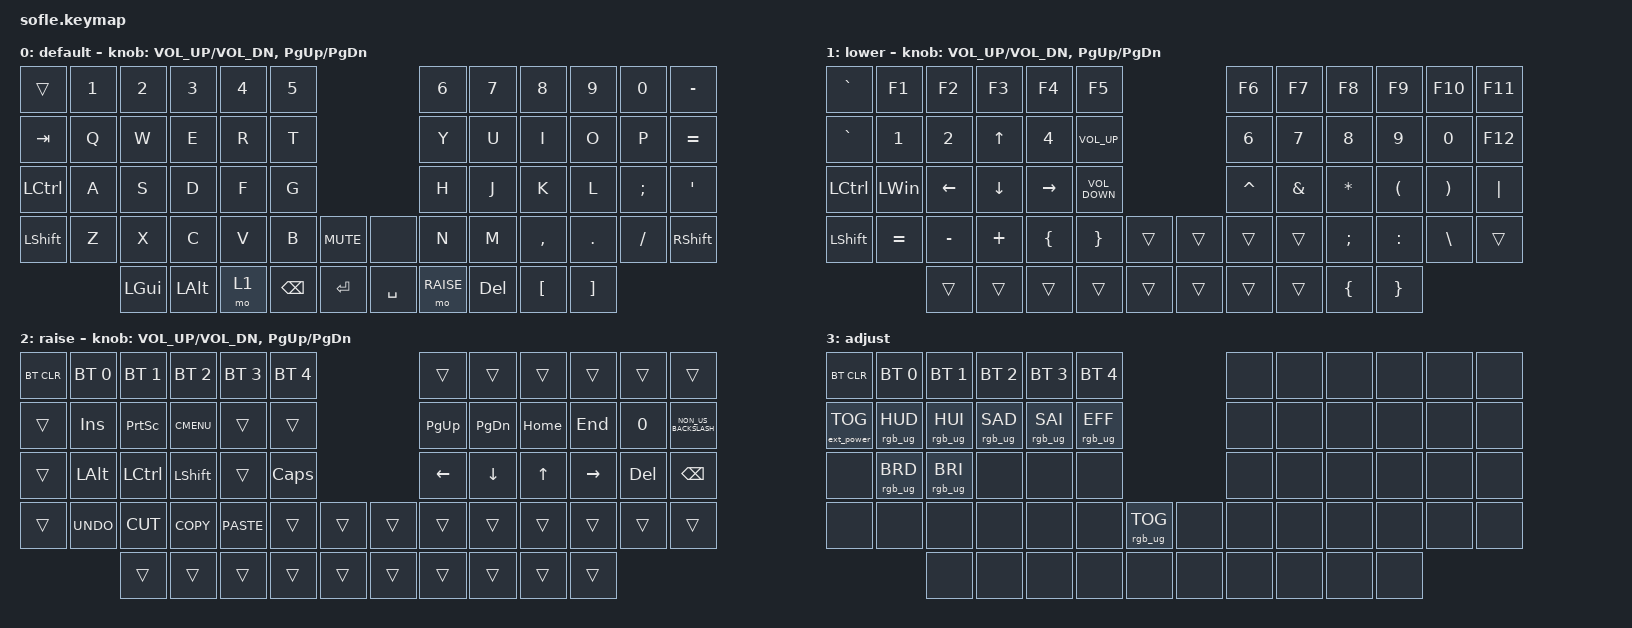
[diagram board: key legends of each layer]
/*
 * Copyright (c) 2020 The ZMK Contributors
 *
 * SPDX-License-Identifier: MIT
 */

#include <behaviors.dtsi>
#include <dt-bindings/zmk/bt.h>
#include <dt-bindings/zmk/ext_power.h>
#include <dt-bindings/zmk/keys.h>
#include <dt-bindings/zmk/rgb.h>

#define BASE 0
#define LOWER 1
#define RAISE 2
#define ADJUST 3

/ {
    // Activate ADJUST layer by pressing raise and lower

    conditional_layers {
        compatible = "zmk,conditional-layers";

        adjust_layer {
            if-layers = <LOWER RAISE>;
            then-layer = <ADJUST>;
        };
    };

    keymap {
        compatible = "zmk,keymap";

        default_layer {
            display-name = "default";

            // ------------------------------------------------------------------------------------------------------------
            // |   `   |  1  |  2  |  3   |  4   |  5   |                   |  6   |  7    |  8    |  9   |   0   |       |
            // |  ESC  |  Q  |  W  |  E   |  R   |  T   |                   |  Y   |  U    |  I    |  O   |   P   | BKSPC |
            // |  TAB  |  A  |  S  |  D   |  F   |  G   |                   |  H   |  J    |  K    |  L   |   ;   |   '   |
            // | SHIFT |  Z  |  X  |  C   |  V   |  B   |  MUTE  |  |       |  N   |  M    |  ,    |  .   |   /   | SHIFT |
            //               | GUI | ALT  | CTRL | LOWER|  ENTER |  | SPACE | RAISE| CTRL  | ALT   | GUI  |

            bindings = <
&trans     &kp N1  &kp N2    &kp N3    &kp N4  &kp N5                                  &kp N6     &kp N7      &kp N8            &kp N9             &kp N0    &kp MINUS
&kp TAB    &kp Q   &kp W     &kp E     &kp R   &kp T                                   &kp Y      &kp U       &kp I             &kp O              &kp P     &kp EQUAL
&kp LCTRL  &kp A   &kp S     &kp D     &kp F   &kp G                                   &kp H      &kp J       &kp K             &kp L              &kp SEMI  &kp SQT
&kp LSHFT  &kp Z   &kp X     &kp C     &kp V   &kp B          &kp C_MUTE    &none      &kp N      &kp M       &kp COMMA         &kp DOT            &kp FSLH  &kp RSHFT
                   &kp LGUI  &kp LALT  &mo 1   &kp BACKSPACE  &kp RET       &kp SPACE  &mo RAISE  &kp DELETE  &kp LEFT_BRACKET  &kp RIGHT_BRACKET
            >;

            sensor-bindings = <&inc_dec_kp C_VOL_UP C_VOL_DN &inc_dec_kp PG_UP PG_DN>;
        };

        lower_layer {
            display-name = "lower";

            // TODO: Some binds are waiting for shifted keycode support.
            // ------------------------------------------------------------------------------------------------------------
            // |       |  F1 |  F2 |  F3  |  F4  |  F5  |                   |  F6  |  F7   |  F8   |  F9  |  F10  |  F11  |
            // |   `   |  1  |  2  |  3   |  4   |  5   |                   |  6   |  7    |  8    |  9   |   0   |  F12  |
            // |       |  !  |  @  |  #   |  $   |  %   |                   |  ^   |  &    |  *    |  (   |   )   |   |   |
            // |       |  =  |  -  |  +   |  {   |  }   |        |  |       |  [   |  ]    |  ;    |  :   |   \   |       |
            //               |     |      |      |      |        |  |       |      |       |       |      |

            bindings = <
&kp GRAVE       &kp F1        &kp F2     &kp F3        &kp F4     &kp F5                               &kp F6     &kp F7    &kp F8          &kp F9           &kp F10   &kp F11
&kp GRAVE       &kp N1        &kp N2     &kp UP_ARROW  &kp N4     &kp C_VOLUME_UP                      &kp N6     &kp N7    &kp N8          &kp N9           &kp N0    &kp F12
&kp LCTRL       &kp LEFT_WIN  &kp LEFT   &kp DOWN      &kp RIGHT  &kp C_VOLUME_DOWN                    &kp CARET  &kp AMPS  &kp ASTRK       &kp LPAR         &kp RPAR  &kp PIPE
&kp LEFT_SHIFT  &kp EQUAL     &kp MINUS  &kp PLUS      &kp LBRC   &kp RBRC           &trans    &trans  &trans     &trans    &kp SEMI        &kp COLON        &kp BSLH  &trans
                              &trans     &trans        &trans     &trans             &trans    &trans  &trans     &trans    &kp LEFT_BRACE  &kp RIGHT_BRACE
            >;

            sensor-bindings = <&inc_dec_kp C_VOL_UP C_VOL_DN &inc_dec_kp PG_UP PG_DN>;
        };

        raise_layer {
            display-name = "raise";

            // ------------------------------------------------------------------------------------------------------------
            // | BTCLR | BT1  | BT2  |  BT3  |  BT4  |  BT5 |                |      |      |       |      |       |       |
            // |       | INS  | PSCR | GUI   |       |      |                | PGUP |      |   ^   |      |       |       |
            // |       | ALT  | CTRL | SHIFT |       | CAPS |                | PGDN |   <- |   v   |  ->  |  DEL  | BKSPC |
            // |       | UNDO | CUT  | COPY  | PASTE |      |      |  |      |      |      |       |      |       |       |
            //                |      |       |       |      |      |  |      |      |      |       |      |

            bindings = <
&bt BT_CLR  &bt BT_SEL 0  &bt BT_SEL 1  &bt BT_SEL 2  &bt BT_SEL 3  &bt BT_SEL 4                    &trans          &trans     &trans    &trans     &trans   &trans
&trans      &kp INS       &kp PSCRN     &kp K_CMENU   &trans        &trans                          &kp PG_UP       &kp PG_DN  &kp HOME  &kp END    &kp N0   &kp NON_US_BACKSLASH
&trans      &kp LALT      &kp LCTRL     &kp LSHFT     &trans        &kp CLCK                        &kp LEFT_ARROW  &kp DOWN   &kp UP    &kp RIGHT  &kp DEL  &kp BSPC
&trans      &kp K_UNDO    &kp K_CUT     &kp K_COPY    &kp K_PASTE   &trans        &trans    &trans  &trans          &trans     &trans    &trans     &trans   &trans
                          &trans        &trans        &trans        &trans        &trans    &trans  &trans          &trans     &trans    &trans
            >;

            sensor-bindings = <&inc_dec_kp C_VOL_UP C_VOL_DN &inc_dec_kp PG_UP PG_DN>;
        };

        adjust_layer {
            // ----------------------------------------------------------------------------------------------------------------------------
            // | BTCLR  |  BT1    |  BT2    |   BT3   |   BT4   |   BT5   |                  |      |      |       |      |       |       |
            // | EXTPWR | RGB_HUD | RGB_HUI | RGB_SAD | RGB_SAI | RGB_EFF |                  |      |      |       |      |       |       |
            // |        | RGB_BRD | RGB_BRI |         |         |         |                  |      |      |       |      |       |       |
            // |        |         |         |         |         |         | RGB_TOG | |      |      |      |       |      |       |       |
            //                    |         |         |         |         |         | |      |      |      |       |      |

            display-name = "adjust";
            bindings = <
&bt BT_CLR         &bt BT_SEL 0     &bt BT_SEL 1     &bt BT_SEL 2     &bt BT_SEL 3     &bt BT_SEL 4                               &none  &none  &none  &none  &none  &none
&ext_power EP_TOG  &rgb_ug RGB_HUD  &rgb_ug RGB_HUI  &rgb_ug RGB_SAD  &rgb_ug RGB_SAI  &rgb_ug RGB_EFF                            &none  &none  &none  &none  &none  &none
&none              &rgb_ug RGB_BRD  &rgb_ug RGB_BRI  &none            &none            &none                                      &none  &none  &none  &none  &none  &none
&none              &none            &none            &none            &none            &none            &rgb_ug RGB_TOG    &none  &none  &none  &none  &none  &none  &none
                                    &none            &none            &none            &none            &none              &none  &none  &none  &none  &none
            >;
        };
    };
};
